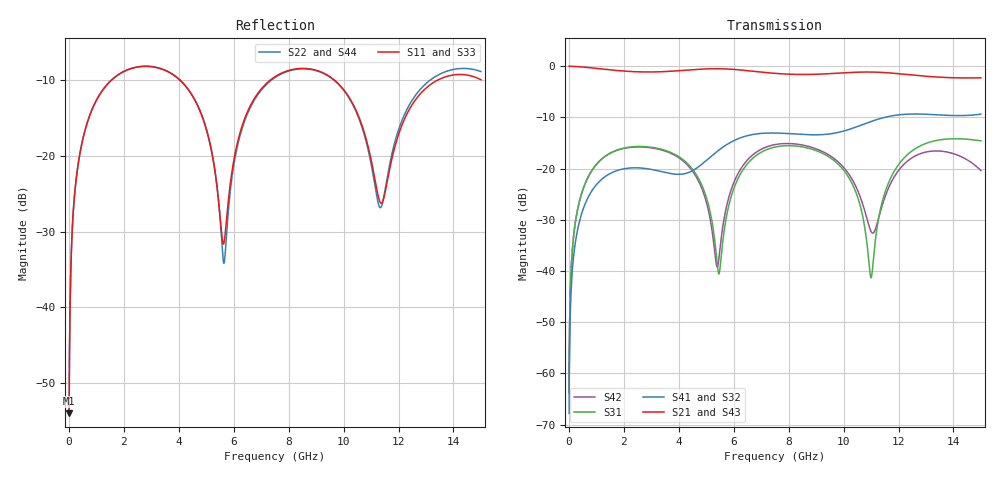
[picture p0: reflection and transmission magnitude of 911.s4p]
! Created with skrf 1.8.0 (http://scikit-rf.org).
# GHz S RI R 50.0
!freq ReS11 ImS11 ReS12 ImS12 ReS13 ImS13
! ReS14 ImS14
! ReS21 ImS21 ReS22 ImS22 ReS23 ImS23
! ReS24 ImS24
! ReS31 ImS31 ReS32 ImS32 ReS33 ImS33
! ReS34 ImS34
! ReS41 ImS41 ReS42 ImS42 ReS43 ImS43
! ReS44 ImS44
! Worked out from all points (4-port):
!   2499 points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, 5 MHz to 15 GHz, reference 50 ohm
!   strongest paths, dB at 5 MHz, 3.476 GHz, 7.19 GHz, 11.1 GHz, 15 GHz:
!     S21: 0.0, -1.1, -1.3, -1.2, -2.3
!     S43: 0.0, -1.1, -1.3, -1.2, -2.3
!     S41: -67.8, -20.7, -13.1, -10.6, -9.4
!     S32: -67.8, -20.8, -13.1, -10.6, -9.4
!     S31: -63.8, -16.4, -16.3, -37.0, -14.6
!     S42: -63.8, -16.5, -15.8, -32.5, -20.4
!   lowest |S11| = -54.0 dB at 5 MHz (marker M1), VSWR 1.00, Z = 50.2 + j0.121 ohm
!   |S11| at or under -10 dB: start of sweep to 1.545 GHz; 4.038 GHz to 7.327 GHz (3.289 GHz wide, 57.9 % of centre); 9.669 GHz to 13.42 GHz (3.751 GHz wide, 32.5 % of centre)
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0.005  0.00159 0.00121  0.9984 -0.0031  8.01e-05 0.000642  -7.78e-05 -0.000401
       0.9984 -0.0031  0.00159 0.00121  -7.78e-05 -0.000401  8.01e-05 0.000643
       8.01e-05 0.000642  -7.78e-05 -0.000401  0.00159 0.00121  0.9984 -0.0031
       -7.78e-05 -0.000401  8.01e-05 0.000643  0.9984 -0.0031  0.00159 0.00121
0.3626511  0.0286 0.0908  0.9605 -0.2218  0.0139 0.0436  -0.0114 -0.0267
           0.9605 -0.2218  0.0287 0.0908  -0.0114 -0.0267  0.0137 0.0436
           0.0139 0.0436  -0.0114 -0.0267  0.0286 0.0908  0.9605 -0.2218
           -0.0114 -0.0267  0.0137 0.0436  0.9605 -0.2218  0.0287 0.0908
1.619545  0.2727 0.1768  0.5415 -0.734  0.1338 0.0606  -0.0926 -0.00457
          0.5415 -0.734  0.2738 0.1761  -0.0925 -0.0047  0.1313 0.0641
          0.1338 0.0606  -0.0925 -0.0047  0.2728 0.1767  0.5416 -0.734
          -0.0926 -0.00457  0.1313 0.0641  0.5416 -0.734  0.2736 0.1761
5.63985  0.0262 0.00327  -0.9378 -0.0681  -0.00358 0.0232  -0.00563 0.1641
         -0.9378 -0.0681  0.0195 -0.00097  -0.00811 0.164  0.0177 0.026
         -0.00358 0.0232  -0.00811 0.164  0.0249 0.00524  -0.9378 -0.0677
         -0.00563 0.1641  0.0177 0.026  -0.9378 -0.0677  0.0205 0.00103
8.803668  0.3719 -0.0442  0.0221 0.8297  0.1289 -0.0874  0.202 -0.0696
          0.0221 0.8297  0.3699 -0.0406  0.2024 -0.0648  0.1295 -0.0977
          0.1289 -0.0874  0.2024 -0.0648  0.3747 -0.0429  0.0208 0.829
          0.202 -0.0696  0.1295 -0.0977  0.0208 0.829  0.3712 -0.0408
10.99833  0.0629 -0.0715  0.8228 0.298  -0.00821 0.00246  0.0877 -0.2741
          0.8228 0.298  0.0593 -0.0666  0.0954 -0.2715  -0.0244 -0.00113
          -0.00821 0.00246  0.0954 -0.2715  0.0646 -0.0721  0.8218 0.3006
          0.0877 -0.2741  -0.0244 -0.00113  0.8218 0.3006  0.0594 -0.0681
15  0.3115 -0.0661  -0.1658 -0.7504  -0.0042 -0.1863  -0.3242 0.1016
    -0.1658 -0.7504  0.3505 -0.085  -0.3279 0.0877  0.0201 -0.0934
    -0.0042 -0.1863  -0.3279 0.0877  0.3163 -0.0699  -0.16 -0.7499
    -0.3242 0.1016  0.0201 -0.0934  -0.16 -0.7499  0.3557 -0.081
